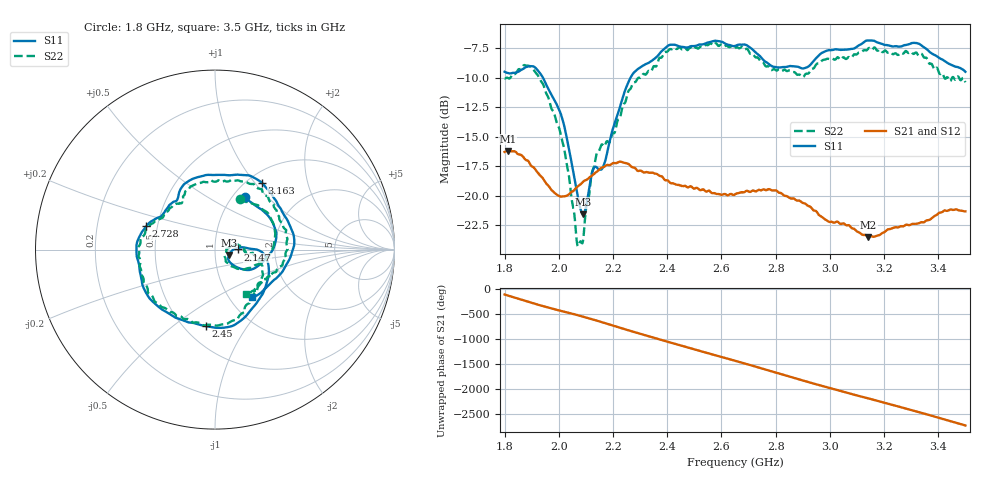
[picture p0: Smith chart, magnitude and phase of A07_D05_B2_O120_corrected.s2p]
! Created with skrf 1.9.0 (http://scikit-rf.org).
# Hz S RI R 50.0
!freq ReS11 ImS11 ReS21 ImS21 ReS12 ImS12 ReS22 ImS22
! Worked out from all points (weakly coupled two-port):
!   1601 points, 1.8 GHz to 3.5 GHz, reference 50 ohm
!   highest |S21| = -16.19 dB at 1.812 GHz (marker M1); lowest = -23.5 dB at 3.142 GHz (marker M2)
!   lowest |S11| = -21.6 dB at 2.09 GHz (marker M3), VSWR 1.18, Z = 58.3 - j3.59 ohm
!   |S11| at or under -10 dB: 1.942 GHz to 2.264 GHz (322.3 MHz wide, 15.3 % of centre)
!   |S22| runs from -24.3 to -7.1 dB; largest |S21 - S12| = 0.0029
!   S11 on the Smith chart (normalised r, x): 1.8 GHz: 1.13, +0.75; 2.147 GHz: 1.30, +0.00; 2.45 GHz: 0.63, -0.66; 2.728 GHz: 0.43, +0.13; 3.163 GHz: 1.16, +1.09; 3.5 GHz: 1.27, -0.76
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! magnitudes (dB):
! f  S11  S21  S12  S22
! 1.8 GHz  -9.5  -16.3  -16.3  -10.1
! 1.812 GHz  -9.6  -16.2  -16.2  -10.0
! 1.881 GHz  -9.1  -17.0  -17.0  -9.0
! 1.941 GHz  -10.0  -18.5  -18.5  -10.5
! 2.014 GHz  -13.5  -20.1  -20.1  -15.4
! 2.068 GHz  -19.8  -19.2  -19.3  -24.1
! 2.084 GHz  -21.4  -19.0  -18.9  -24.0
! 2.09 GHz  -21.6  -18.8  -18.9  -23.7
! 2.126 GHz  -17.8  -18.2  -18.2  -17.8
! 2.147 GHz  -17.8  -17.8  -17.8  -16.2
! 2.202 GHz  -14.2  -17.2  -17.3  -14.7
! 2.264 GHz  -10.0  -17.5  -17.5  -10.9
! 2.367 GHz  -8.1  -18.3  -18.2  -8.5
! 2.45 GHz  -7.4  -19.1  -19.2  -7.5
! 2.65 GHz  -7.3  -19.9  -19.9  -7.5
! 2.728 GHz  -7.9  -19.6  -19.7  -8.3
! 2.934 GHz  -8.7  -21.1  -21.1  -9.2
! 3.142 GHz  -6.8  -23.5  -23.4  -7.5
! 3.163 GHz  -6.8  -23.5  -23.5  -7.4
! 3.217 GHz  -7.2  -22.8  -22.8  -7.8
! 3.325 GHz  -7.1  -22.4  -22.3  -8.0
! 3.5 GHz  -9.5  -21.3  -21.3  -10.4
